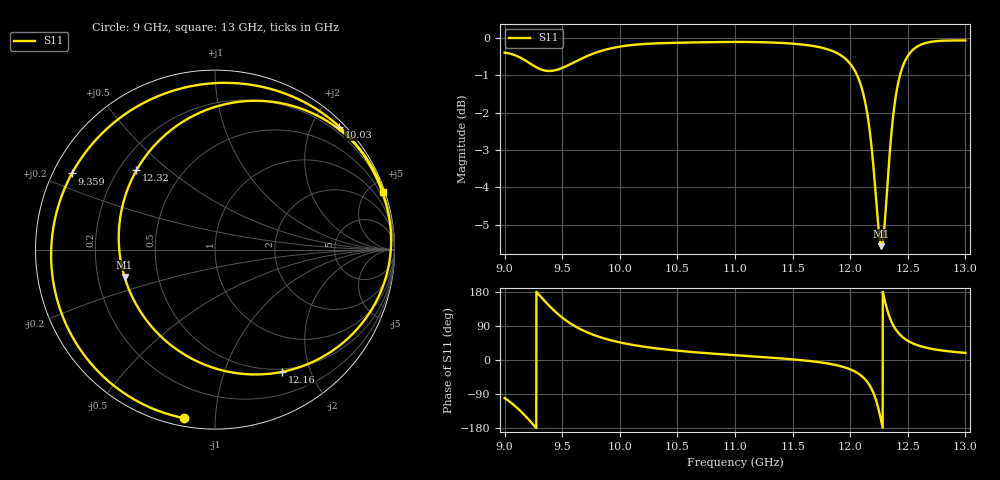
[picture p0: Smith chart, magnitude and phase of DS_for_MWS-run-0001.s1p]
! TOUCHSTONE file generated by CST DESIGN STUDIO
! Date and time: Tue Feb  4 14:01:33 2025
! Project name: C:\Work\MatlabApps\UnitCellOptimizationMatlab\CST\unitcell.cst
! Tree item: Tasks\Sweep1\SPara1\S-Parameters
! Header version: 2024
! Port assignment regex: !\s*Touchstone port\s*([0-9]+)\s*=\s*(CST MWS port|CST DES external port|CST DES block port)\s*(.+)\s* \(\"(.*)\"\)(\s*mode\s*([0-9]+))?.*
! Touchstone port assignment:
! Touchstone port 1 = CST DES external port 1 ("")
# GHz S MA R 50
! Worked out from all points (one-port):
!   4001 points, 9 GHz to 13 GHz, reference 50 ohm
!   lowest |S11| = -5.6 dB at 12.27 GHz (marker M1), VSWR 3.23, Z = 15.8 - j6.68 ohm
!   |S11| at or under -10 dB: nowhere
!   S11 on the Smith chart (normalised r, x): 9 GHz: 0.04, -0.83; 9.359 GHz: 0.05, +0.25; 10.03 GHz: 0.09, +2.43; 12.16 GHz: 0.46, -1.60; 12.32 GHz: 0.27, +0.39; 13 GHz: 0.16, +6.02
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9  0.9547 -100.4
9.109  0.9447 -126.5
9.216  0.9245 -159.5
9.286  0.9109 176.5
9.359  0.9031 152.0
9.429  0.9038 130.6
9.5  0.911 111.9
9.599  0.9264 91.2
9.73  0.9468 71.3
10  0.9727 46.5
10.028  0.9742 44.6
10.5  0.9843 24.6
11  0.9867 12.7
11.5  0.9816 1.7
11.799  0.9652 -8.9
12  0.9227 -24.7
12.089  0.8673 -39.8
12.156  0.7777 -61.1
12.218  0.6274 -100.1
12.271  0.5267 -163.1
12.294  0.5517 164.7
12.319  0.6219 134.7
12.351  0.7256 106.3
12.386  0.8159 85.1
12.439  0.8985 64.8
12.5  0.9452 50.6
12.672  0.985 31.6
13  0.9913 18.8
